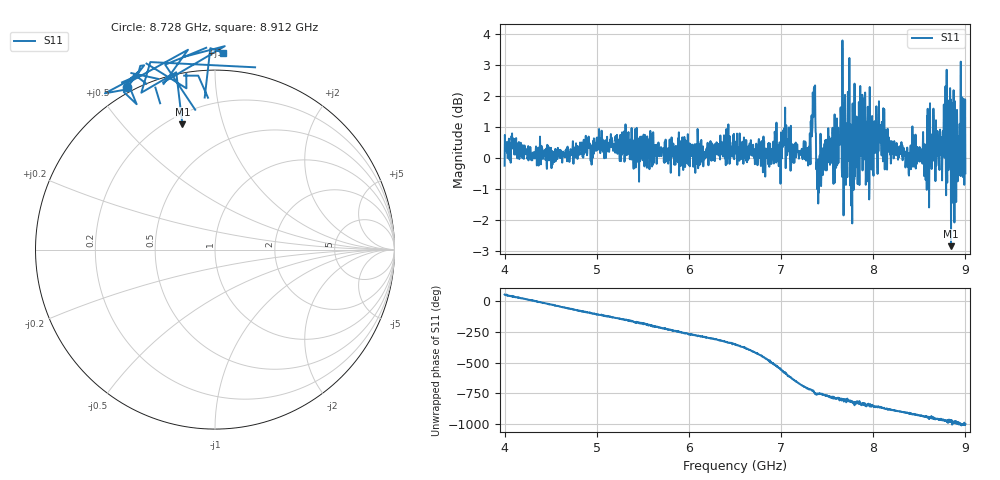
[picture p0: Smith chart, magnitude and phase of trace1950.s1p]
! Created with skrf 1.8.0 (http://scikit-rf.org).
# Hz S RI R 50.0
!freq ReS11 ImS11
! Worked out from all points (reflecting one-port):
!   1601 points, 4 GHz to 9 GHz, reference 50 ohm
!   lowest |S11| = -2.8 dB at 8.844 GHz (marker M1), VSWR 6.16, Z = 12.8 + j37.1 ohm
!   phase of S11 starts at 52 deg and turns -1049 deg over the sweep
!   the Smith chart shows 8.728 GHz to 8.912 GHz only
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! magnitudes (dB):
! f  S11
! 4 GHz  -0.2
! 4.1 GHz  0.5
! 4.625 GHz  -0.2
! 5.25 GHz  -0.1
! 5.875 GHz  0.2
! 6.5 GHz  0.3
! 6.978 GHz  -0.1
! 7.022 GHz  0.8
! 7.125 GHz  0.4
! 7.294 GHz  -0.2
! 7.347 GHz  1.7
! 7.416 GHz  -0.2
! 7.538 GHz  0.1
! 7.609 GHz  -0.2
! 7.65 GHz  1.3
! 7.75 GHz  -0.9
! 7.769 GHz  -0.5
! 7.891 GHz  0.4
! 7.944 GHz  1.3
! 8.097 GHz  0.3
! 8.375 GHz  0.1
! 8.584 GHz  1.4
! 8.638 GHz  0.2
! 8.725 GHz  0.9
! 8.816 GHz  -0.4
! 8.844 GHz  -2.8
! 8.956 GHz  0.3
! 9 GHz  -0.5
